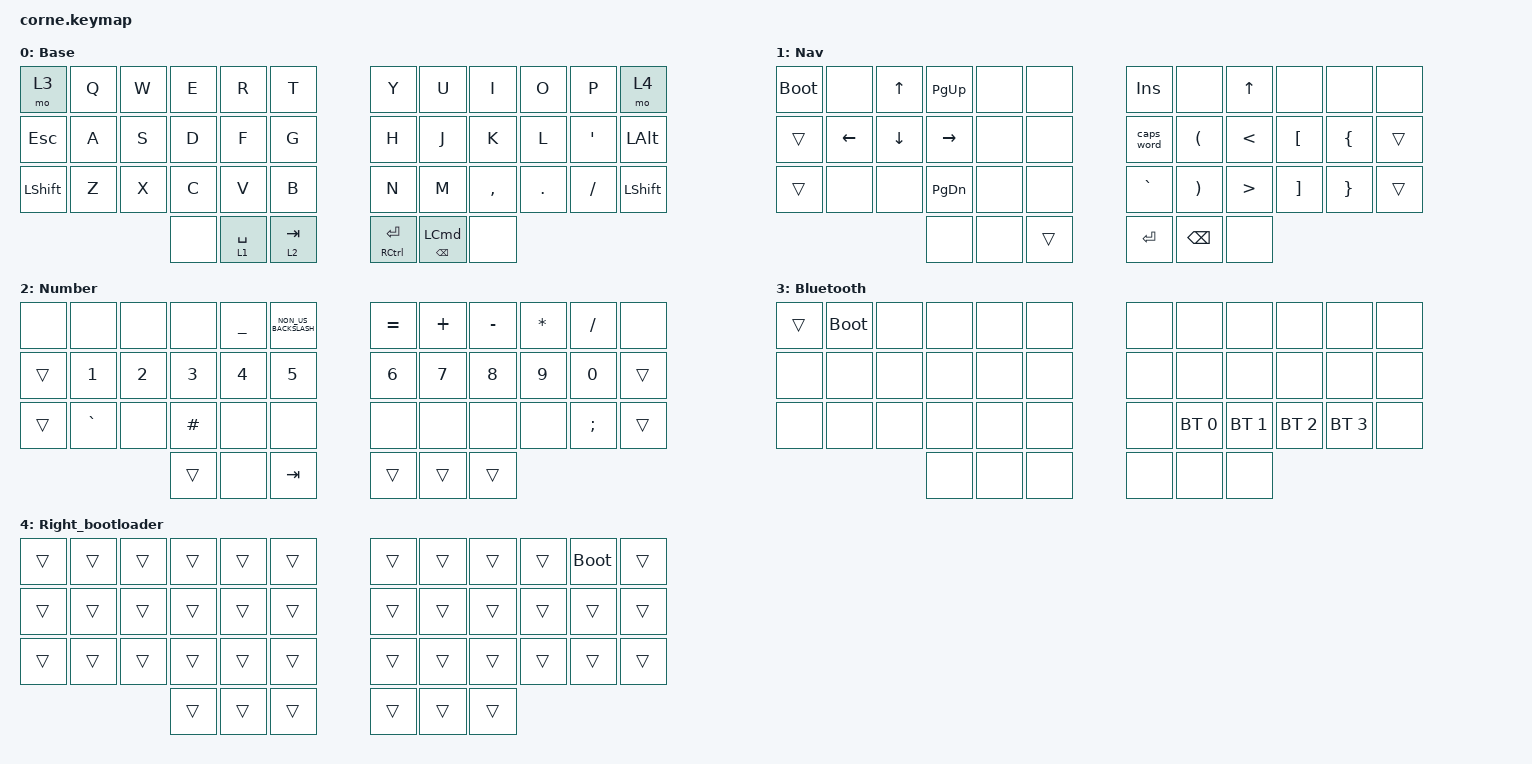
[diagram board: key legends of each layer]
/*
 * Copyright (c) 2020 The ZMK Contributors
 *
 * SPDX-License-Identifier: MIT
 */

#include <behaviors.dtsi>
#include <dt-bindings/zmk/bt.h>
#include <dt-bindings/zmk/keys.h>

/ {
    keymap {
        compatible = "zmk,keymap";

        Base {
            // -----------------------------------------------------------------------------------------
            // |  TAB |  Q  |  W  |  E  |  R  |  T  |   |  Y  |  U   |  I  |  O  |  P  | BKSP |
            // | CTRL |  A  |  S  |  D  |  F  |  G  |   |  H  |  J   |  K  |  L  |  ;  |  '   |
            // | SHFT |  Z  |  X  |  C  |  V  |  B  |   |  N  |  M   |  ,  |  .  |  /  | ESC  |
            //                    | GUI | LWR | SPC |   | ENT | RSE  | ALT |

            bindings = <
&mo 3           &kp Q  &kp W  &kp E  &kp R        &kp T        &kp Y                    &kp U                       &kp I      &kp O    &kp P     &mo 4
&kp ESCAPE      &kp A  &kp S  &kp D  &kp F        &kp G        &kp H                    &kp J                       &kp K      &kp L    &kp SQT   &kp LEFT_ALT
&kp LEFT_SHIFT  &kp Z  &kp X  &kp C  &kp V        &kp B        &kp N                    &kp M                       &kp COMMA  &kp DOT  &kp FSLH  &kp LEFT_SHIFT
                              &none  &lt 1 SPACE  &lt 2 TAB    &mt RIGHT_CONTROL ENTER  &mt BACKSPACE LEFT_COMMAND  &none
            >;
        };

        Nav {
            bindings = <
&bootloader  &none           &kp UP_ARROW  &kp PG_UP        &none  &none     &kp INS     &none                  &kp UP            &none              &none            &none
&trans       &kp LEFT_ARROW  &kp DOWN      &kp RIGHT_ARROW  &none  &none     &caps_word  &kp LEFT_PARENTHESIS   &kp LESS_THAN     &kp LEFT_BRACKET   &kp LEFT_BRACE   &trans
&trans       &none           &none         &kp PG_DN        &none  &none     &kp GRAVE   &kp RIGHT_PARENTHESIS  &kp GREATER_THAN  &kp RIGHT_BRACKET  &kp RIGHT_BRACE  &trans
                                           &none            &none  &trans    &kp RET     &kp BSPC               &none
            >;
        };

        Number {
            bindings = <
&none   &none         &none         &none     &kp UNDERSCORE  &kp NON_US_BACKSLASH    &kp EQUAL     &kp PLUS  &kp MINUS  &kp ASTERISK  &kp SLASH      &none
&trans  &kp NUMBER_1  &kp NUMBER_2  &kp N3    &kp NUMBER_4    &kp N5                  &kp NUMBER_6  &kp N7    &kp N8     &kp N9        &kp N0         &trans
&trans  &kp GRAVE     &none         &kp HASH  &none           &none                   &none         &none     &none      &none         &kp SEMICOLON  &trans
                                    &trans    &none           &kp TAB                 &trans        &trans    &trans
            >;
        };

        Bluetooth {
            bindings = <
&trans  &bootloader  &none  &none  &none  &none    &none  &none         &none         &none         &none         &none
&none   &none        &none  &none  &none  &none    &none  &none         &none         &none         &none         &none
&none   &none        &none  &none  &none  &none    &none  &bt BT_SEL 0  &bt BT_SEL 1  &bt BT_SEL 2  &bt BT_SEL 3  &none
                            &none  &none  &none    &none  &none         &none
            >;
        };

        Right_bootloader {
            bindings = <
&trans  &trans  &trans  &trans  &trans  &trans    &trans  &trans  &trans  &trans  &bootloader  &trans
&trans  &trans  &trans  &trans  &trans  &trans    &trans  &trans  &trans  &trans  &trans       &trans
&trans  &trans  &trans  &trans  &trans  &trans    &trans  &trans  &trans  &trans  &trans       &trans
                        &trans  &trans  &trans    &trans  &trans  &trans
            >;
        };
    };
};
